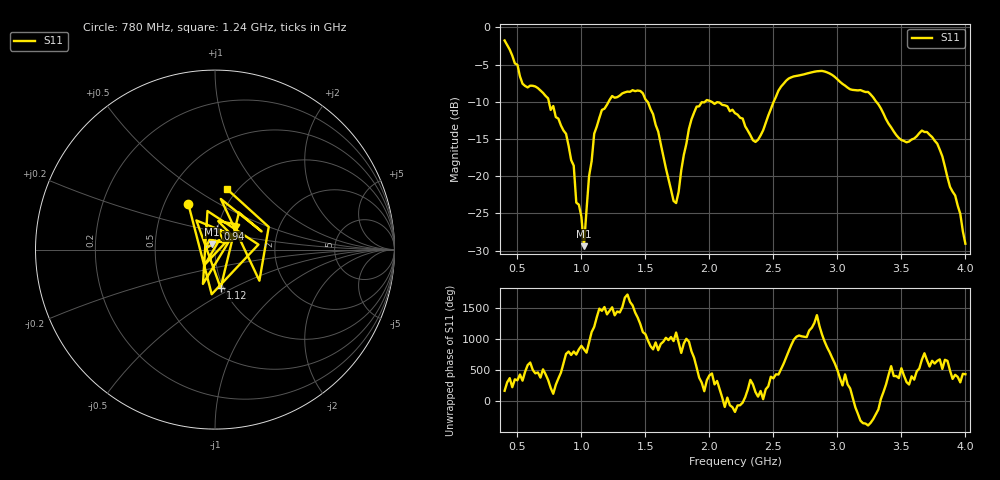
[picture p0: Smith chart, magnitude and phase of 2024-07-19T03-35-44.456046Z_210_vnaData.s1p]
!Created with skrf (http://scikit-rf.org).
# Hz S RI R 50.0
!freq ReS11 ImS11
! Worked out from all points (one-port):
!   181 points, 400 MHz to 4 GHz, reference 50 ohm
!   lowest |S11| = -29.4 dB at 1.02 GHz (marker M1), VSWR 1.07, Z = 48.2 + j2.82 ohm
!   |S11| at or under -10 dB: 745.9 MHz to 1.213 GHz (466.7 MHz wide, 47.7 % of centre); 2.017 GHz to 2.502 GHz (485.2 MHz wide, 21.5 % of centre); 3.304 GHz to end of sweep (the widest 3 of 4)
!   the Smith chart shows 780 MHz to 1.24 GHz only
!   S11 on the Smith chart (normalised r, x): 780 MHz: 0.66, +0.37; 940 MHz: 1.00, +0.24; 1.12 GHz: 0.97, -0.43; 1.24 GHz: 0.89, +0.69
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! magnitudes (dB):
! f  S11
! 400 MHz  -1.8
! 540 MHz  -7.6
! 780 MHz  -10.6
! 860 MHz  -13.9
! 940 MHz  -18.6
! 960 MHz  -23.6
! 1 GHz  -25.5
! 1.02 GHz  -29.4
! 1.06 GHz  -20.0
! 1.12 GHz  -13.3
! 1.24 GHz  -9.2
! 1.3 GHz  -9.2
! 1.48 GHz  -8.9
! 1.6 GHz  -14.0
! 1.72 GHz  -23.3
! 1.76 GHz  -22.1
! 1.84 GHz  -13.6
! 1.9 GHz  -10.7
! 2.2 GHz  -11.5
! 2.36 GHz  -15.4
! 2.54 GHz  -8.5
! 2.66 GHz  -6.6
! 2.9 GHz  -5.9
! 3.1 GHz  -8.3
! 3.24 GHz  -8.7
! 3.56 GHz  -15.3
! 3.78 GHz  -15.6
! 4 GHz  -29.1
